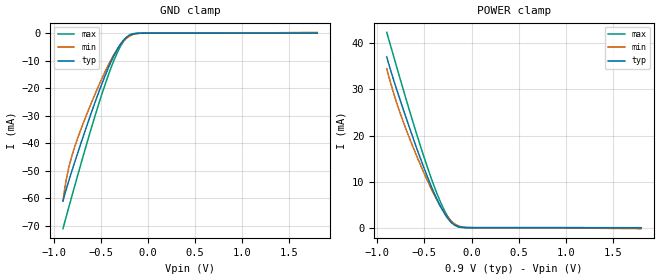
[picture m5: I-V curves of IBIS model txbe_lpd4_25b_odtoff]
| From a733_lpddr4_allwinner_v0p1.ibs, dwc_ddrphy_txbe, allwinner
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[Model] txbe_lpd4_25b_odtoff
Model_type   Input
Polarity   Non-Inverting
Enable   Active-High
C_comp   942.209fF   932.247fF   958.837fF
C_comp_pullup   267.428fF   265.931fF   270.757fF
C_comp_pulldown 547.374fF   540.701fF   573.186fF
Vinh = 500.000mV
Vinl = 390.000mV
[Model Spec]
D_overshoot_ampl_h 0.1 NA   NA
D_overshoot_ampl_l 0.1 NA   NA
D_overshoot_area_l 300.000m NA   NA
D_overshoot_area_h 300.000m NA   NA
[Receiver Thresholds]
Vth = 220.000mV
Vth_min = 212.000mV
Vth_max = 234.000mV
Vinh_ac = 60.000mV
Vinh_dc = 60.000mV
Vinl_ac = -60.000mV
Vinl_dc = -60.000mV
Tslew_ac = 5.000ns
Threshold_sensitivity = 0.5
Reference_supply Power_clamp_ref
[Temperature Range]   25.000   125.000   -40.000
[Voltage Range]   900.000mV   810.000mV   990.000mV
[GND Clamp Reference]   0.00V   0.00V   0.00V
[C Comp Corner]
| variable   typ   min   max
C_comp 942.209fF   958.837fF   932.247fF
C_comp_pullup 270.757fF   267.428fF   265.931fF
C_comp_pulldown 547.374fF   573.186fF   540.701fF
[POWER Clamp Reference]   900.000mV   810.000mV   990.000mV
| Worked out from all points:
|   GND clamp passes 1 mA (typ) near -0.21 V on its own axis
|   POWER clamp passes 1 mA (typ) near -0.21 V on its own axis
[GND Clamp]
-900mV    -60.96mA   -60.97mA   -70.98mA
-870mV    -57.21mA   -54.02mA   -67.17mA
-840mV    -53.78mA   -49.01mA   -63.42mA
-810mV    -50.5mA    -45.07mA   -59.71mA
-760mV    -45.19mA   -39.68mA   -53.57mA
-650mV    -33.92mA   -29.66mA   -40.39mA
-480mV    -17.79mA   -15.95mA   -21.39mA
-370mV    -8.938mA   -8.44mA    -10.81mA
-290mV    -3.987mA   -4.171mA   -4.779mA
-200mV    -815.6uA   -1.181mA   -860.1uA
-40mV     -3.558uA   -14.64uA   -1.452uA
1.8V      69.75uA    286.1uA    56.25uA
[Power Clamp]
-900mV    37.05mA    34.48mA    42.39mA
-800mV    30.35mA    27.44mA    35.29mA
-720mV    25.39mA    22.72mA    29.66mA
-580mV    17.13mA    15.46mA    20.17mA
-440mV    9.616mA    8.975mA    11.44mA
-360mV    5.884mA    5.743mA    7.061mA
-280mV    2.838mA    3.054mA    3.426mA
-220mV    1.222mA    1.544mA    1.451mA
-170mV    436.8uA    704uA      476uA
-110mV    79.14uA    191.8uA    65.22uA
-30mV     3.305uA    12uA       1.985uA
1.8V      -30.08uA   -217.5uA   -7.981uA
